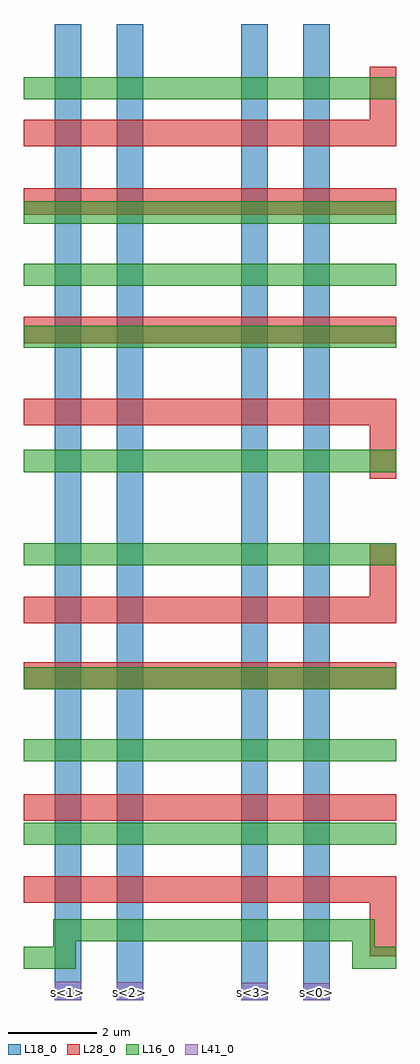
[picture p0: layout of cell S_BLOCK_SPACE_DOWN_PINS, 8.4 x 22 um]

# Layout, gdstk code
import gdstk
lib = gdstk.Library(unit=1e-6, precision=1e-09)
def R(c, l, rs):  # rectangles x0, y0, x1, y1
    for r in rs: c.add(gdstk.rectangle(r[:2], r[2:], *l))
def A(c, l, x, y, w, h, nx, ny, dx, dy):  # array of equal rectangles
    R(c, l, [(x+i*dx, y+j*dy, x+i*dx+w, y+j*dy+h) for i in range(nx) for j in range(ny)])
L16_0 = (16, 0)
L18_0 = (18, 0)
L28_0 = (28, 0)
L41_0 = (41, 0)

s_block_space_down_pins = lib.new_cell('S_BLOCK_SPACE_DOWN_PINS')
A(s_block_space_down_pins, L16_0, 0, 14.7, 8.4, 0.5, 1, 3, 0, 1.4)
R(s_block_space_down_pins, L16_0, [(0,0.7,0.74,1.2), (7.66,0.7,8.4,1.2), (0,3.5,8.4,4), (0,5.38,8.4,5.88), (0,7,8.4,7.5), (0,9.8,8.4,10.3), (0,11.9,8.4,12.4), (0,20.3,8.4,20.8)])
R(s_block_space_down_pins, L28_0, [(7.8,0.99,8.4,2.79), (0,2.19,8.4,2.79), (0,4.04,8.4,4.64), (0,7.01,8.4,7.61), (0,8.49,8.4,9.09), (7.8,8.49,8.4,10.29), (7.8,11.75,8.4,13.55), (0,12.95,8.4,13.55), (0,14.8,8.4,15.4), (0,17.7,8.4,18.3), (0,19.24,8.4,19.84), (7.8,19.24,8.4,21.04)])
R(s_block_space_down_pins, L41_0, [(0.7,0,1.3,0.41), (2.1,0,2.7,0.4), (4.9,0,5.5,0.39), (6.3,0,6.9,0.38)])
s_block_space_down_pins.add(gdstk.FlexPath([(0.92,1.57),(0.92,0.7)], 0.5, ends=(0.25, 0), simple_path=True, layer=16, datatype=0))  # L16_0
s_block_space_down_pins.add(gdstk.FlexPath([(7.66,1.57),(0.92,1.57)], 0.5, ends="extended", simple_path=True, layer=16, datatype=0))  # L16_0
s_block_space_down_pins.add(gdstk.FlexPath([(7.66,0.95),(7.66,1.57)], 0.5, ends="extended", simple_path=True, layer=16, datatype=0))  # L16_0
s_block_space_down_pins.add(gdstk.FlexPath([(1,22),(1,0)], 0.6, ends="flush", simple_path=True, layer=18, datatype=0))  # L18_0
s_block_space_down_pins.add(gdstk.FlexPath([(2.4,22),(2.4,0)], 0.6, ends="flush", simple_path=True, layer=18, datatype=0))  # L18_0
s_block_space_down_pins.add(gdstk.FlexPath([(5.2,22),(5.2,0)], 0.6, ends="flush", simple_path=True, layer=18, datatype=0))  # L18_0
s_block_space_down_pins.add(gdstk.FlexPath([(6.6,22),(6.6,0)], 0.6, ends="flush", simple_path=True, layer=18, datatype=0))  # L18_0
s_block_space_down_pins.add(gdstk.Label('s<3>', (5.19,0.16), layer=41, texttype=0))
s_block_space_down_pins.add(gdstk.Label('s<0>', (6.59,0.16), layer=41, texttype=0))
s_block_space_down_pins.add(gdstk.Label('s<2>', (2.39,0.16), layer=41, texttype=0))
s_block_space_down_pins.add(gdstk.Label('s<1>', (0.99,0.16), layer=41, texttype=0))

lib.write_gds('S_BLOCK_SPACE_DOWN_PINS.gds')
